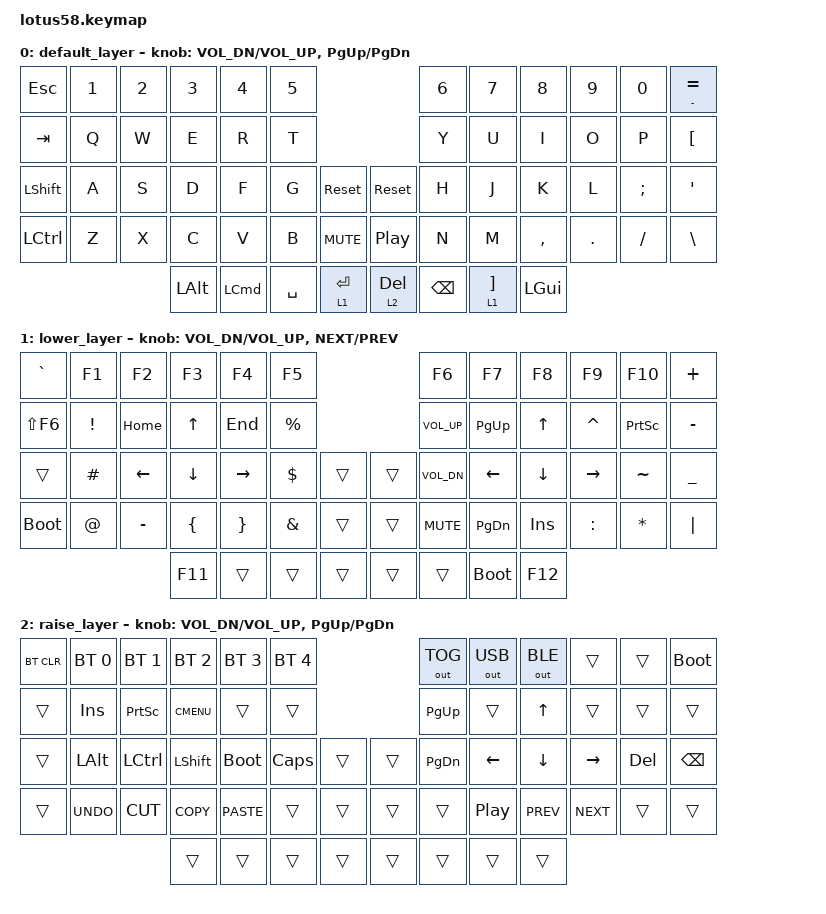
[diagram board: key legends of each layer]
/*
 * Copyright (c) 2022 The ZMK Contributors
 *
 * SPDX-License-Identifier: MIT
 */

#include <behaviors.dtsi>
#include <dt-bindings/zmk/keys.h>
#include <dt-bindings/zmk/bt.h>
#include <dt-bindings/zmk/outputs.h>

/ {

    behaviors {

    };

    keymap {
        compatible = "zmk,keymap";

        default_layer {
//   ------------------------------------------------------------------------------------------------------------
//  0|  ESC  |  1  |  2  |  3   |  4   |  5   |                     |  6   |  7    |  8    |  9   |   0   |   - =    | 11
// 12|  TAB  |  Q  |  W  |  E   |  R   |  T   |                     |  Y   |  U    |  I    |  O   |   P   |   [    | 23
// 24|  LSHFT|  A  |  S  |  D   |  F   |  G   |         |    |      |  H   |  J    |  K    |  L   |   ;   | '      | 37
// 38|  CTRL |  Z  |  X  |  C   |  V   |  B   |  MUTE   |    | PLAY |  N   |  M    |  ,    |  .   |   /   | \      | 51
// 52                    |LALT |  LCMD | SPACE| ENTER RL|    |DEL RS| BSPC |  ] LL | RGUI  |                        59
            bindings = <
&kp ESC   &kp N1 &kp N2   &kp N3     &kp N4   &kp N5                               &kp N6    &kp N7      &kp N8    &kp N9   &kp N0   &mt MINUS EQUAL
&kp TAB   &kp Q  &kp W    &kp E      &kp R    &kp T                                &kp Y     &kp U       &kp I     &kp O    &kp P    &kp LBKT
&kp LSHFT &kp A  &kp S    &kp D      &kp F    &kp G      &sys_reset     &sys_reset     &kp H     &kp J       &kp K     &kp L    &kp SEMI &kp SQT
&kp LCTRL &kp Z  &kp X    &kp C      &kp V    &kp B      &kp C_MUTE     &kp C_PP   &kp N     &kp M       &kp COMMA &kp DOT  &kp FSLH &kp BSLH
                          &kp LALT   &kp LCMD  &kp SPACE  &lt 1 ENTER    &lt 2 DEL  &kp BSPC  &lt 1 RBKT  &kp LGUI
            >;

            sensor-bindings = <&inc_dec_kp C_VOL_DN C_VOL_UP &inc_dec_kp PG_UP PG_DN>;
        };

        lower_layer {
// ------------------------------------------------------------------------------------------------------------
// | `     |  F1 |  F2 |  F3  |  F4  |  F5  |                   |  F6  |  F7   |  F8   |  F9  |  F10  |  F11  |
// | LS(F6)|  !  | HOME|   ^  |  END |  %   |                   | VOL^ |  PGUP |  INS  |  ^   |  PSCR |   -   |
// |       |  #  |  <- |   v  | ->   |  $   |        |  |       | VOLv |    <- |   ^   |  ->  |   ~   |   _   |
// | FLASH |  @  |  -  |  (   |  )   |  &   |        |  |       | MUTE |  PGDN |   v   |  :   |   *   |   |   |
//                     |  F11 |      |      |        |  |       |      | FLASH |  F12  |
            bindings = <
&kp GRAVE  &kp F1    &kp F2    &kp F3      &kp F4     &kp F5                     &kp F6        &kp F7     &kp F8    &kp F9     &kp F10   &kp PLUS
&kp LS(F6) &kp EXCL  &kp HOME  &kp UP      &kp END    &kp PRCNT                  &kp C_VOL_UP  &kp PG_UP  &kp UP   &kp CARET  &kp PSCRN &kp MINUS
&trans     &kp HASH  &kp LEFT  &kp DOWN    &kp RIGHT  &kp DLLR  &trans   &trans  &kp C_VOL_DN  &kp LEFT   &kp DOWN
&kp RIGHT  &kp TILDE &kp UNDER
&bootloader &kp AT    &kp MINUS &kp LBRC    &kp RBRC   &kp AMPS  &trans   &trans  &kp C_MUTE    &kp PG_DN  &kp INS  &kp COLON  &kp STAR  &kp PIPE
                               &kp F11     &trans     &trans    &trans   &trans  &trans        &bootloader     &kp F12
            >;

            sensor-bindings = <&inc_dec_kp C_VOL_DN C_VOL_UP &inc_dec_kp C_NEXT C_PREV>;
        };

        raise_layer {
// ------------------------------------------------------------------------------------------------------------
// |BTCLR| BT1  | BT2  |  BT3  |  BT4  |  BT5 |                |OUTTOG|OUTUSB| OUTBT |      |       | FLASH |
// |     | INS  | PSCR | GUI   |       |      |                | PGUP |      |   ^   |      |       |       |
// |     | ALT  | CTRL | SHIFT | FLASH | CAPS |      |  |      | PGDN |   <- |   v   |  ->  |  DEL  | BSPC  |
// |     | UNDO | CUT  | COPY  | PASTE |      |      |  |      |      |  |>  |  <|<| | |>|> |       |       |
//                     |       |       |      |      |  |      |      |      |       |       
            bindings = <
&bt BT_CLR &bt BT_SEL 0 &bt BT_SEL 1 &bt BT_SEL 2 &bt BT_SEL 3 &bt BT_SEL 4                    &out OUT_TOG  &out OUT_USB  &out OUT_BLE  &trans     &trans  &bootloader
&trans     &kp INS      &kp PSCRN    &kp K_CMENU  &trans       &trans                          &kp PG_UP     &trans        &kp UP        &trans     &trans  &trans
&trans     &kp LALT     &kp LCTRL    &kp LSHFT    &bootloader  &kp CLCK     &trans   &trans    &kp PG_DN     &kp LEFT      &kp DOWN      &kp RIGHT  &kp DEL &kp BSPC
&trans     &kp K_UNDO   &kp K_CUT    &kp K_COPY   &kp K_PASTE  &trans       &trans   &trans    &trans        &kp C_PP      &kp C_PREV    &kp C_NEXT &trans  &trans
                                     &trans       &trans       &trans       &trans   &trans    &trans        &trans        &trans   
            >;

            sensor-bindings = <&inc_dec_kp C_VOL_DN C_VOL_UP &inc_dec_kp PG_UP PG_DN>;
        };
    };
};
